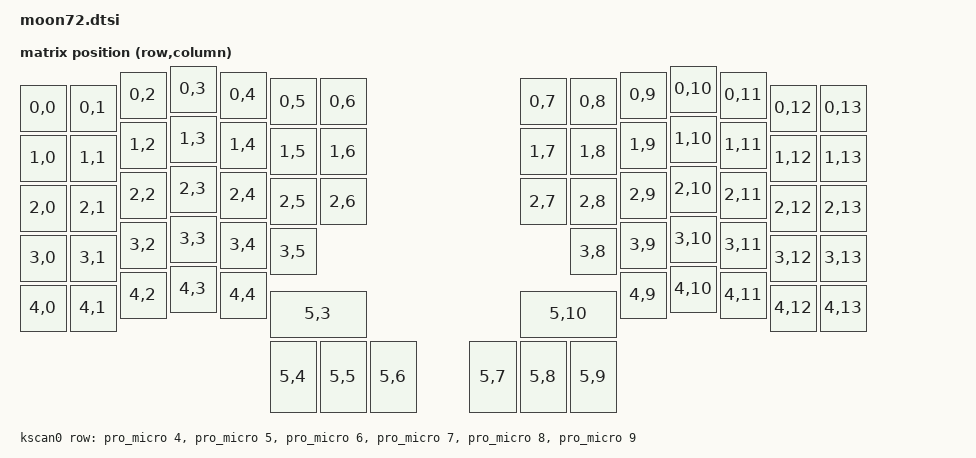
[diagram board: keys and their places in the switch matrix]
/*
 * Moon72: handwired Moonlander clone, nice!nano v2 in each half.
 * Key positions and order match ZSA's Moonlander (qmk zsa/moonlander LAYOUT),
 * so Moonlander keymaps transcribe 1:1.
 *
 * 6 rows x 7 columns per half, col2row: diode band toward the row wire.
 *   rows 0-4  main keys
 *   row 5     thumb module: red key on column 3, thumbs on columns 4-6
 *             (left half: outermost thumb first)
 * Column pins follow the finger, so the right half's column list is reversed.
 */

#include <dt-bindings/zmk/matrix_transform.h>
#include <physical_layouts.dtsi>

/ {
    chosen {
        zmk,kscan = &kscan0;
        zmk,physical-layout = &moon72_layout;
    };

    moon72_layout: moon72_layout {
        compatible = "zmk,physical-layout";
        display-name = "Moonlander";
        transform = <&default_transform>;

        keys  //                     w   h    x    y     rot    rx    ry
            = <&key_physical_attrs 100 100    0   38       0     0     0>
            , <&key_physical_attrs 100 100  100   38       0     0     0>
            , <&key_physical_attrs 100 100  200   12       0     0     0>
            , <&key_physical_attrs 100 100  300    0       0     0     0>
            , <&key_physical_attrs 100 100  400   12       0     0     0>
            , <&key_physical_attrs 100 100  500   25       0     0     0>
            , <&key_physical_attrs 100 100  600   25       0     0     0>
            , <&key_physical_attrs 100 100 1000   25       0     0     0>
            , <&key_physical_attrs 100 100 1100   25       0     0     0>
            , <&key_physical_attrs 100 100 1200   12       0     0     0>
            , <&key_physical_attrs 100 100 1300    0       0     0     0>
            , <&key_physical_attrs 100 100 1400   12       0     0     0>
            , <&key_physical_attrs 100 100 1500   38       0     0     0>
            , <&key_physical_attrs 100 100 1600   38       0     0     0>
            , <&key_physical_attrs 100 100    0  138       0     0     0>
            , <&key_physical_attrs 100 100  100  138       0     0     0>
            , <&key_physical_attrs 100 100  200  112       0     0     0>
            , <&key_physical_attrs 100 100  300  100       0     0     0>
            , <&key_physical_attrs 100 100  400  112       0     0     0>
            , <&key_physical_attrs 100 100  500  125       0     0     0>
            , <&key_physical_attrs 100 100  600  125       0     0     0>
            , <&key_physical_attrs 100 100 1000  125       0     0     0>
            , <&key_physical_attrs 100 100 1100  125       0     0     0>
            , <&key_physical_attrs 100 100 1200  112       0     0     0>
            , <&key_physical_attrs 100 100 1300  100       0     0     0>
            , <&key_physical_attrs 100 100 1400  112       0     0     0>
            , <&key_physical_attrs 100 100 1500  138       0     0     0>
            , <&key_physical_attrs 100 100 1600  138       0     0     0>
            , <&key_physical_attrs 100 100    0  238       0     0     0>
            , <&key_physical_attrs 100 100  100  238       0     0     0>
            , <&key_physical_attrs 100 100  200  212       0     0     0>
            , <&key_physical_attrs 100 100  300  200       0     0     0>
            , <&key_physical_attrs 100 100  400  212       0     0     0>
            , <&key_physical_attrs 100 100  500  225       0     0     0>
            , <&key_physical_attrs 100 100  600  225       0     0     0>
            , <&key_physical_attrs 100 100 1000  225       0     0     0>
            , <&key_physical_attrs 100 100 1100  225       0     0     0>
            , <&key_physical_attrs 100 100 1200  212       0     0     0>
            , <&key_physical_attrs 100 100 1300  200       0     0     0>
            , <&key_physical_attrs 100 100 1400  212       0     0     0>
            , <&key_physical_attrs 100 100 1500  238       0     0     0>
            , <&key_physical_attrs 100 100 1600  238       0     0     0>
            , <&key_physical_attrs 100 100    0  338       0     0     0>
            , <&key_physical_attrs 100 100  100  338       0     0     0>
            , <&key_physical_attrs 100 100  200  312       0     0     0>
            , <&key_physical_attrs 100 100  300  300       0     0     0>
            , <&key_physical_attrs 100 100  400  312       0     0     0>
            , <&key_physical_attrs 100 100  500  325       0     0     0>
            , <&key_physical_attrs 100 100 1100  325       0     0     0>
            , <&key_physical_attrs 100 100 1200  312       0     0     0>
            , <&key_physical_attrs 100 100 1300  300       0     0     0>
            , <&key_physical_attrs 100 100 1400  312       0     0     0>
            , <&key_physical_attrs 100 100 1500  338       0     0     0>
            , <&key_physical_attrs 100 100 1600  338       0     0     0>
            , <&key_physical_attrs 100 100    0  438       0     0     0>
            , <&key_physical_attrs 100 100  100  438       0     0     0>
            , <&key_physical_attrs 100 100  200  412       0     0     0>
            , <&key_physical_attrs 100 100  300  400       0     0     0>
            , <&key_physical_attrs 100 100  400  412       0     0     0>
            , <&key_physical_attrs 200 100  500  450       0     0     0>
            , <&key_physical_attrs 200 100 1000  450       0     0     0>
            , <&key_physical_attrs 100 100 1200  412       0     0     0>
            , <&key_physical_attrs 100 100 1300  400       0     0     0>
            , <&key_physical_attrs 100 100 1400  412       0     0     0>
            , <&key_physical_attrs 100 100 1500  438       0     0     0>
            , <&key_physical_attrs 100 100 1600  438       0     0     0>
            , <&key_physical_attrs 100 150  500  550       0     0     0>
            , <&key_physical_attrs 100 150  600  550       0     0     0>
            , <&key_physical_attrs 100 150  700  550       0     0     0>
            , <&key_physical_attrs 100 150  900  550       0     0     0>
            , <&key_physical_attrs 100 150 1000  550       0     0     0>
            , <&key_physical_attrs 100 150 1100  550       0     0     0>
            ;
    };

    default_transform: keymap_transform_0 {
        compatible = "zmk,matrix-transform";
        columns = <14>;
        rows = <6>;
//  left half: col 0 = pinky outer             right half: col 7 = inner, col 13 = pinky outer
        map = <
RC(0,0) RC(0,1) RC(0,2) RC(0,3) RC(0,4) RC(0,5) RC(0,6)    RC(0,7) RC(0,8) RC(0,9) RC(0,10) RC(0,11) RC(0,12) RC(0,13)
RC(1,0) RC(1,1) RC(1,2) RC(1,3) RC(1,4) RC(1,5) RC(1,6)    RC(1,7) RC(1,8) RC(1,9) RC(1,10) RC(1,11) RC(1,12) RC(1,13)
RC(2,0) RC(2,1) RC(2,2) RC(2,3) RC(2,4) RC(2,5) RC(2,6)    RC(2,7) RC(2,8) RC(2,9) RC(2,10) RC(2,11) RC(2,12) RC(2,13)
RC(3,0) RC(3,1) RC(3,2) RC(3,3) RC(3,4) RC(3,5)                    RC(3,8) RC(3,9) RC(3,10) RC(3,11) RC(3,12) RC(3,13)
RC(4,0) RC(4,1) RC(4,2) RC(4,3) RC(4,4)     RC(5,3)    RC(5,10)        RC(4,9) RC(4,10) RC(4,11) RC(4,12) RC(4,13)
                                RC(5,4) RC(5,5) RC(5,6)    RC(5,7) RC(5,8) RC(5,9)
        >;
    };

    kscan0: kscan {
        compatible = "zmk,kscan-gpio-matrix";
        wakeup-source;

        diode-direction = "col2row";
        row-gpios
            = <&pro_micro 4 (GPIO_ACTIVE_HIGH | GPIO_PULL_DOWN)>
            , <&pro_micro 5 (GPIO_ACTIVE_HIGH | GPIO_PULL_DOWN)>
            , <&pro_micro 6 (GPIO_ACTIVE_HIGH | GPIO_PULL_DOWN)>
            , <&pro_micro 7 (GPIO_ACTIVE_HIGH | GPIO_PULL_DOWN)>
            , <&pro_micro 8 (GPIO_ACTIVE_HIGH | GPIO_PULL_DOWN)>
            , <&pro_micro 9 (GPIO_ACTIVE_HIGH | GPIO_PULL_DOWN)>
            ;
    };
};
